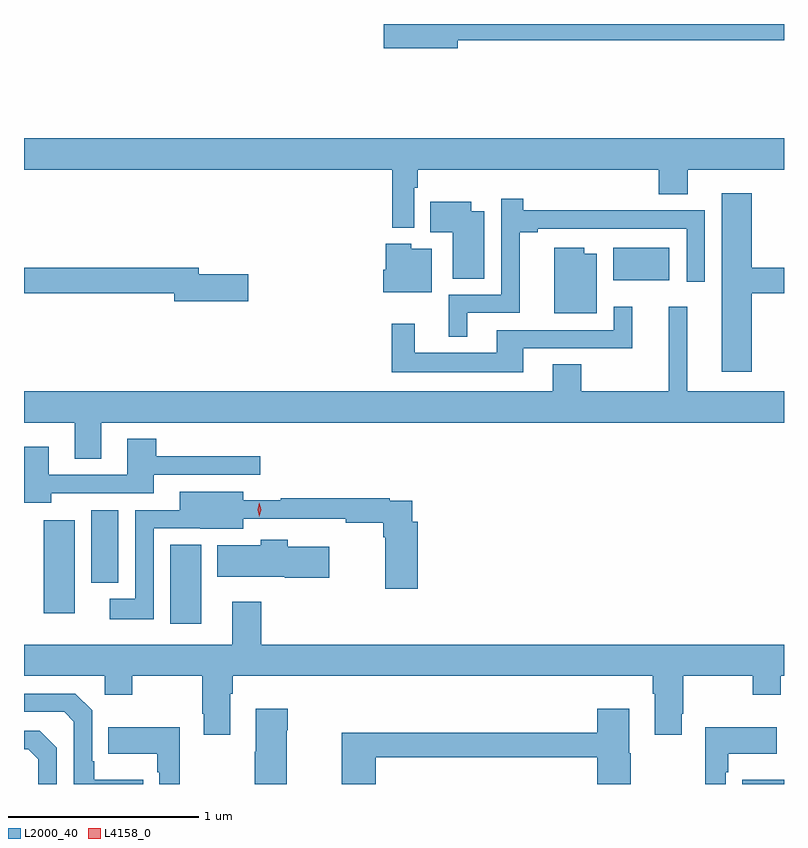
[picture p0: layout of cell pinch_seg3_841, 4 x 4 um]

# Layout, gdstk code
import gdstk
lib = gdstk.Library(unit=1e-6, precision=1e-09)
def R(c, l, rs):  # rectangles x0, y0, x1, y1
    for r in rs: c.add(gdstk.rectangle(r[:2], r[2:], *l))
def P(c, l, *ps):  # polygons
    for p in ps: c.add(gdstk.Polygon(p, *l))
L2000_40 = (2000, 40)
L4158_0 = (4158, 0)

pinch_seg3_841 = lib.new_cell('pinch_seg3_841')
R(pinch_seg3_841, L2000_40, [(712.675,741.638,712.896,741.661), (709.667,742.482,709.828,742.897), (709.001,742.536,709.162,743.026), (709.25,742.697,709.393,743.08), (711.998,744.29,712.291,744.46)])
P(pinch_seg3_841, L2000_40, [(711.178,745.552),(712.896,745.552),(712.896,745.638),(710.79,745.638),(710.79,745.51),(711.178,745.51)],
  [(710.949,744.776),(710.969,744.776),(710.969,744.872),(712.238,744.872),(712.238,744.742),(712.39,744.742),(712.39,744.872),(712.896,744.872),(712.896,745.036),(708.896,745.036),(708.896,744.872),(710.833,744.872),(710.833,744.566),(710.949,744.566)],
  [(712.727,744.22),(712.896,744.22),(712.896,744.356),(712.727,744.356),(712.727,744.748),(712.568,744.748),(712.568,743.808),(712.727,743.808)],
  [(711.229,744.117),(711.506,744.117),(711.506,744.541),(711.601,744.541),(711.601,744.561),(712.383,744.561),(712.383,744.282),(712.479,744.282),(712.479,744.657),(712.154,744.657),(712.154,744.659),(711.524,744.659),(711.524,744.718),(711.408,744.718),(711.408,744.213),(711.131,744.213),(711.131,743.993),(711.229,743.993)],
  [(711.319,744.652),(711.25,744.652),(711.25,744.703),(711.034,744.703),(711.034,744.542),(711.152,744.542),(711.152,744.298),(711.319,744.298)],
  [(711.043,744.454),(710.934,744.454),(710.934,744.481),(710.801,744.481),(710.801,744.345),(710.786,744.345),(710.786,744.227),(711.043,744.227)],
  [(711.91,744.43),(711.844,744.43),(711.844,744.46),(711.686,744.46),(711.686,744.116),(711.91,744.116)],
  [(710.077,744.32),(709.816,744.32),(709.816,744.356),(708.896,744.356),(708.896,744.22),(709.688,744.22),(709.688,744.178),(710.077,744.178)],
  [(711.523,743.931),(712.097,743.931),(712.097,744.151),(711.999,744.151),(711.999,744.027),(711.383,744.027),(711.383,743.908),(710.953,743.908),(710.953,744.061),(710.832,744.061),(710.832,743.804),(711.523,743.804)],
  [(712.896,743.704),(712.388,743.704),(712.388,744.151),(712.289,744.151),(712.289,743.704),(711.828,743.704),(711.828,743.846),(711.68,743.846),(711.68,743.704),(708.896,743.704),(708.896,743.54),(709.163,743.54),(709.163,743.35),(709.303,743.35),(709.303,743.54),(712.896,743.54)],
  [(709.04,743.169),(709.579,743.169),(709.579,743.265),(710.14,743.265),(710.14,743.362),(709.592,743.362),(709.592,743.455),(709.439,743.455),(709.439,743.265),(709.027,743.265),(709.027,743.413),(708.896,743.413),(708.896,743.118),(709.04,743.118)],
  [(709.578,742.983),(709.824,742.983),(709.824,742.982),(710.05,742.982),(710.05,743.034),(710.368,743.034),(710.368,743.033),(710.59,743.033),(710.59,743.014),(710.786,743.014),(710.786,742.937),(710.798,742.937),(710.798,742.665),(710.969,742.665),(710.969,743.017),(710.939,743.017),(710.939,743.13),(710.822,743.13),(710.822,743.143),(710.246,743.143),(710.246,743.131),(710.05,743.131),(710.05,743.176),(709.715,743.176),(709.715,743.079),(709.482,743.079),(709.482,742.612),(709.347,742.612),(709.347,742.505),(709.578,742.505)],
  [(710.503,742.888),(710.285,742.888),(710.285,742.924),(710.143,742.924),(710.143,742.894),(709.913,742.894),(709.913,742.73),(710.268,742.73),(710.268,742.723),(710.503,742.723)],
  [(710.144,742.597),(709.991,742.597),(709.991,742.372),(708.896,742.372),(708.896,742.208),(709.32,742.208),(709.32,742.109),(709.467,742.109),(709.467,742.208),(709.834,742.208),(709.834,742.009),(709.841,742.009),(709.841,741.897),(709.981,741.897),(709.981,742.112),(709.994,742.112),(709.994,742.208),(712.205,742.208),(712.205,742.112),(712.217,742.112),(712.217,741.897),(712.357,741.897),(712.357,742.009),(712.365,742.009),(712.365,742.208),(712.732,742.208),(712.732,742.109),(712.878,742.109),(712.878,742.208),(712.896,742.208),(712.896,742.372),(710.144,742.372)],
  [(709.523,741.661),(709.267,741.661),(709.267,741.757),(709.254,741.757),(709.254,742.026),(709.167,742.113),(708.896,742.113),(708.896,742.017),(709.107,742.017),(709.158,741.966),(709.158,741.638),(709.523,741.638)],
  [(710.28,741.92),(710.285,741.92),(710.285,742.033),(710.117,742.033),(710.117,741.809),(710.11,741.809),(710.11,741.638),(710.28,741.638)],
  [(710.747,741.778),(711.914,741.778),(711.914,741.638),(712.089,741.638),(712.089,741.801),(712.081,741.801),(712.081,742.033),(711.914,742.033),(711.914,741.907),(710.569,741.907),(710.569,741.638),(710.747,741.638)],
  [(709.717,741.937),(709.339,741.937),(709.339,741.797),(709.596,741.797),(709.596,741.701),(709.608,741.701),(709.608,741.638),(709.717,741.638)],
  [(712.59,741.701),(712.603,741.701),(712.603,741.797),(712.859,741.797),(712.859,741.937),(712.482,741.937),(712.482,741.638),(712.59,741.638)],
  [(709.068,741.828),(708.978,741.918),(708.896,741.918),(708.896,741.821),(708.919,741.821),(708.972,741.768),(708.972,741.638),(709.068,741.638)])
P(pinch_seg3_841, L4158_0, [(710.134,743.045),(710.134,743.046),(710.125,743.081),(710.135,743.117),(710.135,743.117),(710.135,743.117),(710.144,743.081),(710.134,743.046)])

lib.write_gds('pinch_seg3_841.gds')
